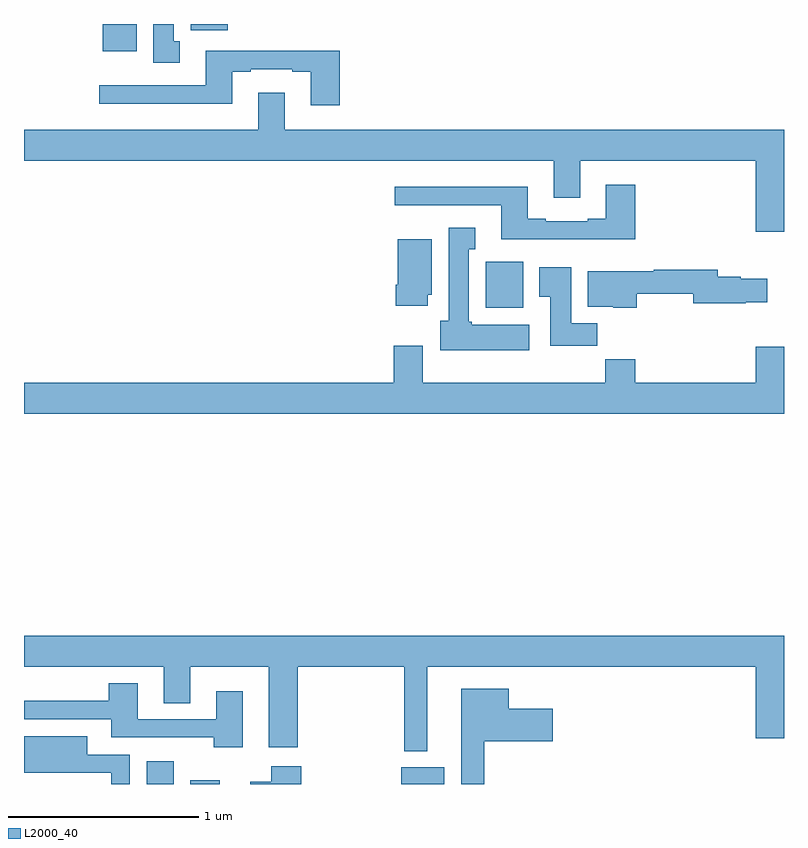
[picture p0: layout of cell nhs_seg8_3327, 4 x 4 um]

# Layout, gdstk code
import gdstk
lib = gdstk.Library(unit=1e-6, precision=1e-09)
def R(c, l, rs):  # rectangles x0, y0, x1, y1
    for r in rs: c.add(gdstk.rectangle(r[:2], r[2:], *l))
def P(c, l, *ps):  # polygons
    for p in ps: c.add(gdstk.Polygon(p, *l))
L2000_40 = (2000, 40)

nhs_seg8_3327 = lib.new_cell('nhs_seg8_3327')
R(nhs_seg8_3327, L2000_40, [(317.645,1099.9,317.788,1100.02), (317.876,1099.9,318.031,1099.921), (318.986,1099.9,319.213,1099.987), (319.43,1102.406,319.627,1102.648), (317.414,1103.756,317.593,1103.9), (317.877,1103.868,318.073,1103.9)])
P(nhs_seg8_3327, L2000_40, [(317.821,1103.809),(317.788,1103.809),(317.788,1103.9),(317.681,1103.9),(317.681,1103.697),(317.821,1103.697)],
  [(318.662,1103.758),(317.957,1103.758),(317.957,1103.577),(317.397,1103.577),(317.397,1103.48),(318.097,1103.48),(318.097,1103.649),(318.193,1103.649),(318.193,1103.661),(318.413,1103.661),(318.413,1103.649),(318.509,1103.649),(318.509,1103.472),(318.662,1103.472)],
  [(318.233,1103.539),(318.233,1103.344),(317,1103.344),(317,1103.18),(319.787,1103.18),(319.787,1102.986),(319.927,1102.986),(319.927,1103.18),(320.852,1103.18),(320.852,1102.806),(321,1102.806),(321,1103.344),(318.373,1103.344),(318.373,1103.539)],
  [(320.216,1103.053),(320.063,1103.053),(320.063,1102.876),(319.967,1102.876),(319.967,1102.863),(319.747,1102.863),(319.747,1102.876),(319.651,1102.876),(319.651,1103.044),(318.951,1103.044),(318.951,1102.947),(319.511,1102.947),(319.511,1102.766),(320.216,1102.766)],
  [(319.66,1102.318),(319.356,1102.318),(319.356,1102.332),(319.342,1102.332),(319.342,1102.715),(319.375,1102.715),(319.375,1102.828),(319.235,1102.828),(319.235,1102.338),(319.19,1102.338),(319.19,1102.184),(319.66,1102.184)],
  [(319.126,1102.476),(319.147,1102.476),(319.147,1102.768),(318.968,1102.768),(318.968,1102.528),(318.956,1102.528),(318.956,1102.416),(319.126,1102.416)],
  [(320.018,1102.324),(319.879,1102.324),(319.879,1102.621),(319.712,1102.621),(319.712,1102.465),(319.769,1102.465),(319.769,1102.206),(320.018,1102.206)],
  [(320.226,1102.479),(320.522,1102.479),(320.522,1102.429),(320.798,1102.429),(320.798,1102.436),(320.911,1102.436),(320.911,1102.558),(320.772,1102.558),(320.772,1102.571),(320.65,1102.571),(320.65,1102.607),(320.314,1102.607),(320.314,1102.6),(319.967,1102.6),(319.967,1102.412),(320.1,1102.412),(320.1,1102.406),(320.226,1102.406)],
  [(321,1102.201),(320.852,1102.201),(320.852,1102.012),(320.216,1102.012),(320.216,1102.136),(320.059,1102.136),(320.059,1102.012),(319.099,1102.012),(319.099,1102.207),(318.947,1102.207),(318.947,1102.012),(317,1102.012),(317,1101.848),(321,1101.848)],
  [(319.123,1100.516),(320.852,1100.516),(320.852,1100.142),(321,1100.142),(321,1100.68),(317,1100.68),(317,1100.516),(317.735,1100.516),(317.735,1100.326),(317.875,1100.326),(317.875,1100.516),(318.287,1100.516),(318.287,1100.094),(318.44,1100.094),(318.44,1100.516),(319.002,1100.516),(319.002,1100.072),(319.123,1100.072)],
  [(318.151,1100.389),(318.011,1100.389),(318.011,1100.241),(317.599,1100.241),(317.599,1100.431),(317.447,1100.431),(317.447,1100.338),(317,1100.338),(317,1100.241),(317.459,1100.241),(317.459,1100.145),(317.999,1100.145),(317.999,1100.094),(318.151,1100.094)],
  [(319.423,1100.126),(319.783,1100.126),(319.783,1100.296),(319.552,1100.296),(319.552,1100.401),(319.301,1100.401),(319.301,1099.9),(319.423,1099.9)],
  [(317.556,1100.055),(317.332,1100.055),(317.332,1100.152),(317,1100.152),(317,1099.958),(317.214,1099.958),(317.214,1099.959),(317.46,1099.959),(317.46,1099.9),(317.556,1099.9)],
  [(318.46,1099.993),(318.302,1099.993),(318.302,1099.912),(318.191,1099.912),(318.191,1099.9),(318.46,1099.9)])

lib.write_gds('nhs_seg8_3327.gds')
